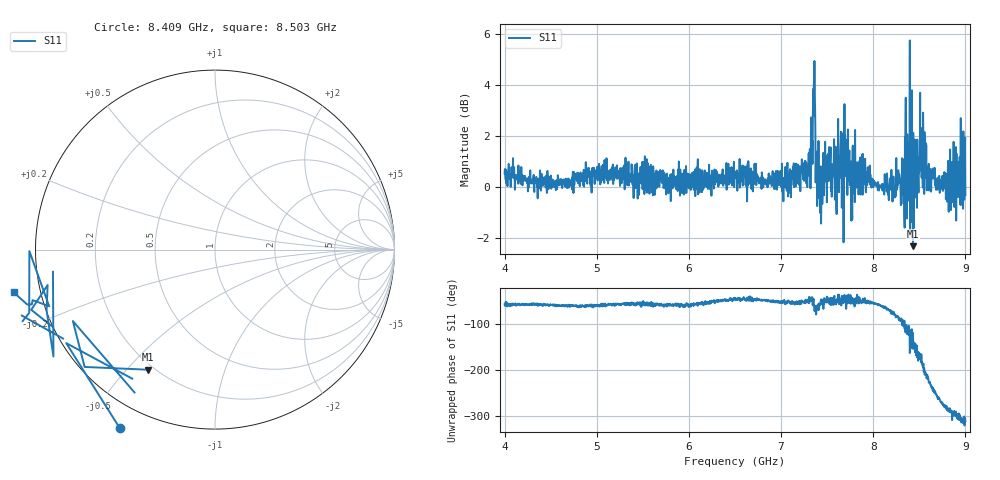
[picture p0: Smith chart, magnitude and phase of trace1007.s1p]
! Created with skrf 1.8.0 (http://scikit-rf.org).
# Hz S RI R 50.0
!freq ReS11 ImS11
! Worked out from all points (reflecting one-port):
!   1601 points, 4 GHz to 9 GHz, reference 50 ohm
!   lowest |S11| = -2.3 dB at 8.431 GHz (marker M1), VSWR 7.56, Z = 8.84 - j28.7 ohm
!   phase of S11 starts at -57 deg and turns -254 deg over the sweep
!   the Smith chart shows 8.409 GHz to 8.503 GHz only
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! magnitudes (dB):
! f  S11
! 4 GHz  0.5
! 4.625 GHz  0.0
! 5.25 GHz  0.2
! 5.875 GHz  0.3
! 6.5 GHz  0.4
! 7.125 GHz  0.3
! 7.294 GHz  0.9
! 7.347 GHz  3.9
! 7.372 GHz  2.2
! 7.4 GHz  -0.3
! 7.425 GHz  0.0
! 7.503 GHz  1.1
! 7.606 GHz  1.1
! 7.669 GHz  1.2
! 7.712 GHz  1.9
! 7.75 GHz  0.8
! 7.891 GHz  0.2
! 8.056 GHz  -0.1
! 8.316 GHz  -0.2
! 8.334 GHz  0.2
! 8.375 GHz  0.3
! 8.431 GHz  -2.3
! 8.475 GHz  -0.8
! 8.522 GHz  2.3
! 8.603 GHz  0.9
! 8.803 GHz  0.1
! 8.972 GHz  0.6
! 9 GHz  -0.3
